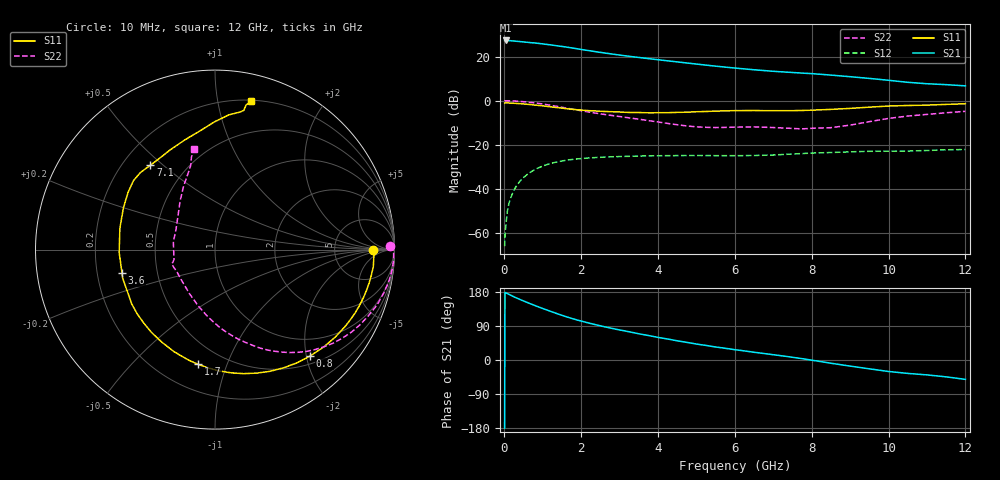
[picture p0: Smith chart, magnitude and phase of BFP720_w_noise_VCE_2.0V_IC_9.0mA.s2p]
! Infineon Technologies  Discrete & RF Semiconductors
! BFP720
! VCE =  2.0 V,  IC =  9.0 mA
! Common Emitter S-Parameters:  Aug 2012
# GHz  S  MA  R  50
!  f  S11  S21  S12  S22
! GHz  MAG  ANG  MAG  ANG  MAG  ANG  MAG  ANG
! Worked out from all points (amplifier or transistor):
!   105 points, 10 MHz to 12 GHz, reference 50 ohm
!   highest |S21| = 27.3 dB at 50 MHz (marker M1)
!   |S21| within 3 dB of that: start of sweep to 1.618 GHz
!   unconditionally stable (mu >= 1): 5.724 GHz to 11.36 GHz
!   at 300 MHz: K = 0.08, MSG = 33.1 dB, |S12| = -39.2 dB
!   at 3.6 GHz: K = 0.66, MSG = 22.3 dB, |S12| = -25.1 dB
!   at 12 GHz: K = 0.83, MSG = 14.4 dB, |S12| = -22.2 dB
!   lowest NFmin = 0.50 dB at 450 MHz
!   S11 on the Smith chart (normalised r, x): 10 MHz: 16, +0; 800 MHz: 0.64, -2.07; 1.7 GHz: 0.36, -0.80; 3.6 GHz: 0.31, -0.11; 7.1 GHz: 0.31, +0.45; 12 GHz: 0.21, +1.25
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0.01  0.8804 0.0  22.98 -179.9  0.0005 -55.6  0.9769 1.3
0.02  0.8884 -1.2  22.99 178.4  0.0008 100.7  0.9953 -0.6
0.05  0.8859 -3.0  23.24 176.9  0.0017 89.4  0.996 -1.9
0.25  0.8736 -15.3  22.61 166.9  0.0092 81.3  0.9848 -10.2
0.4  0.8569 -24.3  21.97 160.2  0.0145 76.2  0.9636 -16.1
0.8  0.795 -48.2  20.37 143.7  0.0274 63.3  0.8889 -31.1
1  0.7616 -59.8  19.41 136.0  0.0328 57.2  0.8403 -38.3
1.2  0.7265 -71.3  18.46 128.6  0.0374 51.6  0.7885 -44.9
1.4  0.6929 -82.4  17.46 121.5  0.0412 46.4  0.7354 -51.1
1.7  0.6461 -98.4  16.02 111.5  0.0456 39.6  0.6582 -59.4
2.1  0.6022 -115.9  14.1 100.2  0.0494 32.3  0.5714 -68.7
2.4  0.582 -127.2  12.84 92.6  0.0514 27.8  0.5185 -75.1
2.8  0.562 -140.7  11.45 83.5  0.0533 23.1  0.4615 -82.5
3.6  0.5345 -165.7  9.335 67.4  0.0556 15.8  0.3693 -97.3
4.1  0.5333 178.7  8.306 58.0  0.0564 12.2  0.3192 -108.5
5  0.5608 155.5  6.773 42.1  0.0569 7.2  0.2552 -135.3
6.1  0.5951 138.6  5.401 26.0  0.0566 4.3  0.2515 -158.6
7.1  0.5922 127.4  4.584 12.7  0.0591 4.4  0.2435 -163.7
8.5  0.6342 105.3  3.807 -8.5  0.0667 -0.5  0.2439 153.2
9.5  0.7128 90.1  3.203 -23.3  0.071 -5.5  0.3339 125.6
10.5  0.7776 79.9  2.61 -35.4  0.0719 -9.9  0.4478 109.7
12  0.851 76.2  2.168 -51.1  0.078 -17.0  0.5735 101.8
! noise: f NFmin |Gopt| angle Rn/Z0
0.45  0.5  0.31  1  0.2
1.8  0.56  0.29  20  0.12
2.4  0.62  0.24  42  0.27
5.5  0.76  0.12  33  0.15
10  0.95  0.4  -81  0.22
